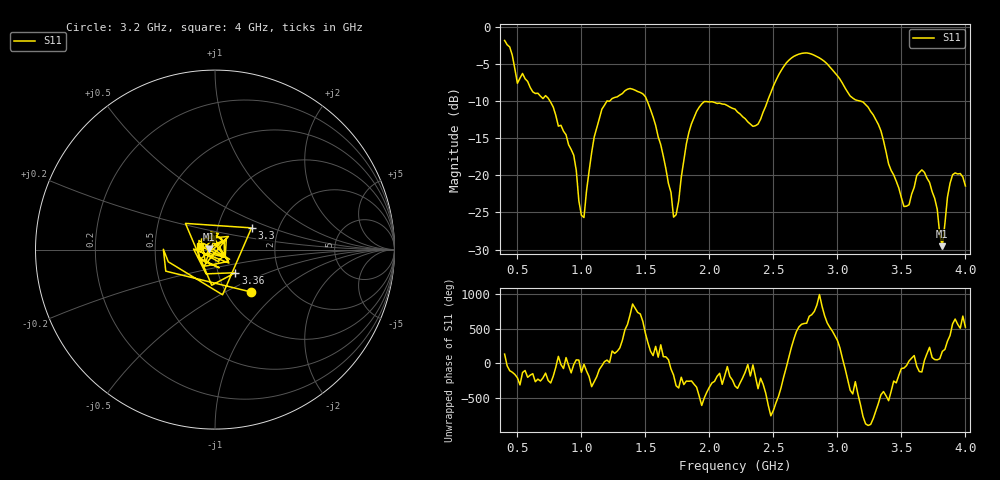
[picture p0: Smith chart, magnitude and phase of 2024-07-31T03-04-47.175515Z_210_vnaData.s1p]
!Created with skrf (http://scikit-rf.org).
# Hz S RI R 50.0
!freq ReS11 ImS11
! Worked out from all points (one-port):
!   181 points, 400 MHz to 4 GHz, reference 50 ohm
!   lowest |S11| = -29.5 dB at 3.82 GHz (marker M1), VSWR 1.07, Z = 46.8 + j0.32 ohm
!   |S11| at or under -10 dB: 754.5 MHz to 1.199 GHz (445 MHz wide, 45.5 % of centre); 1.514 GHz to 2.454 GHz (939.8 MHz wide, 47.4 % of centre); 3.177 GHz to end of sweep (the widest 3 of 4)
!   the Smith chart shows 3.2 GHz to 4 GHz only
!   S11 on the Smith chart (normalised r, x): 3.2 GHz: 1.31, -0.69; 3.3 GHz: 1.45, +0.37; 3.36 GHz: 1.21, -0.32; 4 GHz: 0.85, +0.03
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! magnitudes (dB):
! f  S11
! 400 MHz  -1.8
! 500 MHz  -7.6
! 740 MHz  -9.6
! 860 MHz  -14.1
! 940 MHz  -17.3
! 1.02 GHz  -25.7
! 1.1 GHz  -14.8
! 1.16 GHz  -11.1
! 1.3 GHz  -9.2
! 1.5 GHz  -9.4
! 1.62 GHz  -15.9
! 1.72 GHz  -25.6
! 1.76 GHz  -23.5
! 1.82 GHz  -15.8
! 1.9 GHz  -11.4
! 2.2 GHz  -11.1
! 2.38 GHz  -13.1
! 2.66 GHz  -4.0
! 2.88 GHz  -4.4
! 3.1 GHz  -9.3
! 3.2 GHz  -10.1
! 3.3 GHz  -12.5
! 3.36 GHz  -15.3
! 3.56 GHz  -24.0
! 3.68 GHz  -19.6
! 3.82 GHz  -29.5
! 3.9 GHz  -19.9
! 4 GHz  -21.4
